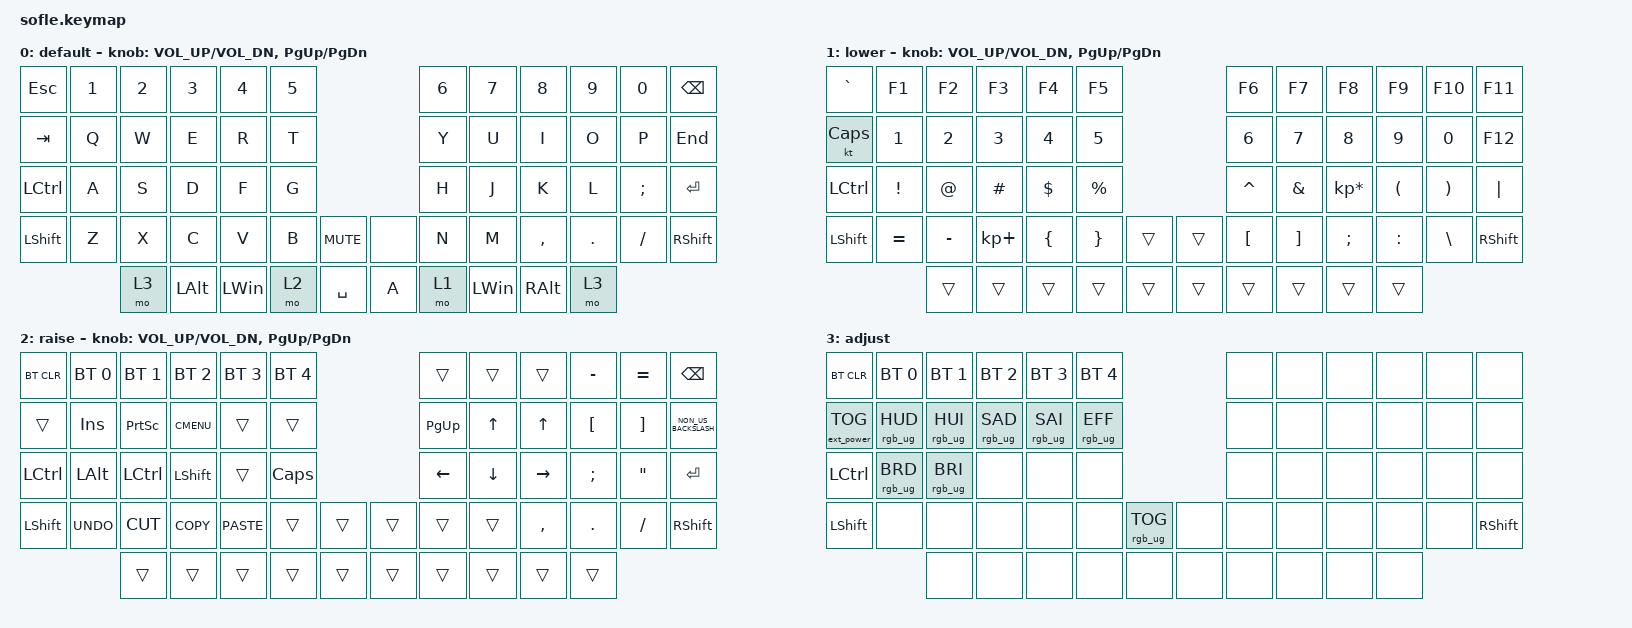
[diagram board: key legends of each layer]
/*
 * Copyright (c) 2020 The ZMK Contributors
 *
 * SPDX-License-Identifier: MIT
 */

#include <behaviors.dtsi>
#include <dt-bindings/zmk/bt.h>
#include <dt-bindings/zmk/ext_power.h>
#include <dt-bindings/zmk/keys.h>
#include <dt-bindings/zmk/rgb.h>

#define BASE 0
#define LOWER 1
#define RAISE 2
#define ADJUST 3

/ {
    // Activate ADJUST layer by pressing raise and lower

    conditional_layers {
        compatible = "zmk,conditional-layers";

        adjust_layer {
            if-layers = <LOWER RAISE>;
            then-layer = <ADJUST>;
        };
    };

    keymap {
        compatible = "zmk,keymap";

        default_layer {
            label = "default";

            // ------------------------------------------------------------------------------------------------------------
            // |   `   |  1  |  2  |  3   |  4   |  5   |                   |  6   |  7    |  8    |  9   |   0   |       |
            // |  ESC  |  Q  |  W  |  E   |  R   |  T   |                   |  Y   |  U    |  I    |  O   |   P   | BKSPC |
            // |  TAB  |  A  |  S  |  D   |  F   |  G   |                   |  H   |  J    |  K    |  L   |   ;   |   '   |
            // | SHIFT |  Z  |  X  |  C   |  V   |  B   |  MUTE  |  |       |  N   |  M    |  ,    |  .   |   /   | SHIFT |
            //               | GUI | ALT  | CTRL | LOWER|  ENTER |  | SPACE | RAISE| CTRL  | ALT   | GUI  |

            bindings = <
&kp ESC           &kp N1  &kp N2  &kp N3    &kp N4        &kp N5                       &kp N6  &kp N7        &kp N8     &kp N9   &kp N0    &kp BACKSPACE
&kp TAB           &kp Q   &kp W   &kp E     &kp R         &kp T                        &kp Y   &kp U         &kp I      &kp O    &kp P     &kp END
&kp LEFT_CONTROL  &kp A   &kp S   &kp D     &kp F         &kp G                        &kp H   &kp J         &kp K      &kp L    &kp SEMI  &kp ENTER
&kp LSHFT         &kp Z   &kp X   &kp C     &kp V         &kp B   &kp C_MUTE    &none  &kp N   &kp M         &kp COMMA  &kp DOT  &kp FSLH  &kp RSHFT
                          &mo 3   &kp LALT  &kp LEFT_WIN  &mo 2   &kp SPACE     &kp A  &mo 1   &kp LEFT_WIN  &kp RALT   &mo 3
            >;

            sensor-bindings = <&inc_dec_kp C_VOL_UP C_VOL_DN &inc_dec_kp PG_UP PG_DN>;
        };

        lower_layer {
            label = "lower";

            // TODO: Some binds are waiting for shifted keycode support.
            // ------------------------------------------------------------------------------------------------------------
            // |       |  F1 |  F2 |  F3  |  F4  |  F5  |                   |  F6  |  F7   |  F8   |  F9  |  F10  |  F11  |
            // |   `   |  1  |  2  |  3   |  4   |  5   |                   |  6   |  7    |  8    |  9   |   0   |  F12  |
            // |       |  !  |  @  |  #   |  $   |  %   |                   |  ^   |  &    |  *    |  (   |   )   |   |   |
            // |       |  =  |  -  |  +   |  {   |  }   |        |  |       |  [   |  ]    |  ;    |  :   |   \   |       |
            //               |     |      |      |      |        |  |       |      |       |       |      |

            bindings = <
&kp GRAVE         &kp F1     &kp F2     &kp F3       &kp F4    &kp F5                       &kp F6     &kp F7    &kp F8           &kp F9     &kp F10   &kp F11
&kt CLCK          &kp N1     &kp N2     &kp N3       &kp N4    &kp N5                       &kp N6     &kp N7    &kp N8           &kp N9     &kp N0    &kp F12
&kp LEFT_CONTROL  &kp EXCL   &kp AT     &kp HASH     &kp DLLR  &kp PRCNT                    &kp CARET  &kp AMPS  &kp KP_MULTIPLY  &kp LPAR   &kp RPAR  &kp PIPE
&kp LEFT_SHIFT    &kp EQUAL  &kp MINUS  &kp KP_PLUS  &kp LBRC  &kp RBRC   &trans    &trans  &kp LBKT   &kp RBKT  &kp SEMI         &kp COLON  &kp BSLH  &kp RIGHT_SHIFT
                             &trans     &trans       &trans    &trans     &trans    &trans  &trans     &trans    &trans           &trans
            >;

            sensor-bindings = <&inc_dec_kp C_VOL_UP C_VOL_DN &inc_dec_kp PG_UP PG_DN>;
        };

        raise_layer {
            label = "raise";

            // ------------------------------------------------------------------------------------------------------------
            // | BTCLR | BT1  | BT2  |  BT3  |  BT4  |  BT5 |                |      |      |       |      |       |       |
            // |       | INS  | PSCR | GUI   |       |      |                | PGUP |      |   ^   |      |       |       |
            // |       | ALT  | CTRL | SHIFT |       | CAPS |                | PGDN |   <- |   v   |  ->  |  DEL  | BKSPC |
            // |       | UNDO | CUT  | COPY  | PASTE |      |      |  |      |      |      |       |      |       |       |
            //                |      |       |       |      |      |  |      |      |      |       |      |

            bindings = <
&bt BT_CLR        &bt BT_SEL 0  &bt BT_SEL 1  &bt BT_SEL 2  &bt BT_SEL 3  &bt BT_SEL 4                    &trans          &trans    &trans           &kp MINUS         &kp EQUAL          &kp BACKSPACE
&trans            &kp INS       &kp PSCRN     &kp K_CMENU   &trans        &trans                          &kp PG_UP       &kp UP    &kp UP           &kp LEFT_BRACKET  &kp RIGHT_BRACKET  &kp NON_US_BACKSLASH
&kp LEFT_CONTROL  &kp LALT      &kp LCTRL     &kp LSHFT     &trans        &kp CLCK                        &kp LEFT_ARROW  &kp DOWN  &kp RIGHT_ARROW  &kp SEMICOLON     &kp DOUBLE_QUOTES  &kp ENTER
&kp LEFT_SHIFT    &kp K_UNDO    &kp K_CUT     &kp K_COPY    &kp K_PASTE   &trans        &trans    &trans  &trans          &trans    &kp COMMA        &kp PERIOD        &kp SLASH          &kp RIGHT_SHIFT
                                &trans        &trans        &trans        &trans        &trans    &trans  &trans          &trans    &trans           &trans
            >;

            sensor-bindings = <&inc_dec_kp C_VOL_UP C_VOL_DN &inc_dec_kp PG_UP PG_DN>;
        };

        adjust_layer {
            // ----------------------------------------------------------------------------------------------------------------------------
            // | BTCLR  |  BT1    |  BT2    |   BT3   |   BT4   |   BT5   |                  |      |      |       |      |       |       |
            // | EXTPWR | RGB_HUD | RGB_HUI | RGB_SAD | RGB_SAI | RGB_EFF |                  |      |      |       |      |       |       |
            // |        | RGB_BRD | RGB_BRI |         |         |         |                  |      |      |       |      |       |       |
            // |        |         |         |         |         |         | RGB_TOG | |      |      |      |       |      |       |       |
            //                    |         |         |         |         |         | |      |      |      |       |      |

            label = "adjust";
            bindings = <
&bt BT_CLR         &bt BT_SEL 0     &bt BT_SEL 1     &bt BT_SEL 2     &bt BT_SEL 3     &bt BT_SEL 4                               &none  &none  &none  &none  &none  &none
&ext_power EP_TOG  &rgb_ug RGB_HUD  &rgb_ug RGB_HUI  &rgb_ug RGB_SAD  &rgb_ug RGB_SAI  &rgb_ug RGB_EFF                            &none  &none  &none  &none  &none  &none
&kp LEFT_CONTROL   &rgb_ug RGB_BRD  &rgb_ug RGB_BRI  &none            &none            &none                                      &none  &none  &none  &none  &none  &none
&kp LEFT_SHIFT     &none            &none            &none            &none            &none            &rgb_ug RGB_TOG    &none  &none  &none  &none  &none  &none  &kp RIGHT_SHIFT
                                    &none            &none            &none            &none            &none              &none  &none  &none  &none  &none
            >;
        };
    };
};
